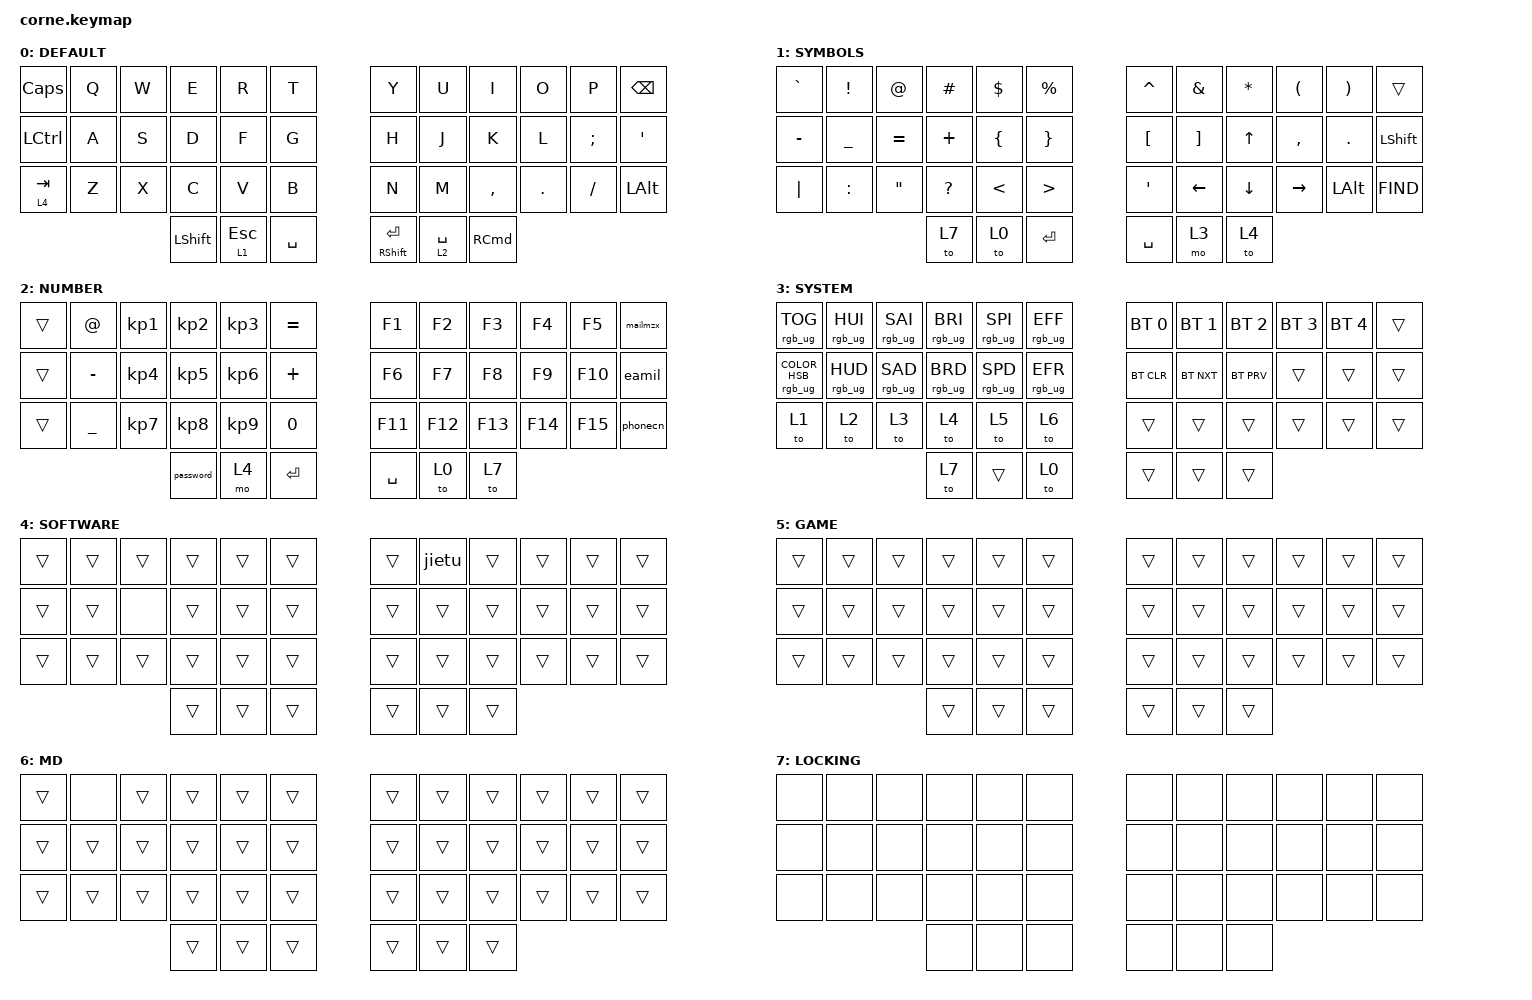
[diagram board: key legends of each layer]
/*
 * Copyright (c) 2020 The ZMK Contributors
 *
 * SPDX-License-Identifier: MIT
 */

#include <behaviors.dtsi>
#include <dt-bindings/zmk/bt.h>
#include <dt-bindings/zmk/keys.h>
#include <dt-bindings/zmk/rgb.h>

// dt-formatter: indent = "  "
// dt-formatter: reindentMultilineIntegerCells = "dedent"

/ {
  behaviors {
    hm: homerow_mods {
      compatible = "zmk,behavior-hold-tap";
      label = "HOMEROW_MODS";
      #binding-cells = <2>;
      tapping-term-ms = <150>;
      quick-tap-ms = <0>;
      flavor = "tap-preferred";
      bindings = <&kp>, <&kp>;
    };
  };

  combos {
    compatible = "zmk,combos";

    to0 {
      bindings = <&to 0>;
      key-positions = <11 23 35>;
      slow-release;
      timeout-ms = <50>;
      layers = <0 1 2 3 7 6 5 4>;
    };

    up {
      bindings = <&kp UP>;
      key-positions = <8 20>;
      layers = <0 1 2>;
      timeout-ms = <50>;
    };

    down {
      bindings = <&kp DOWN>;
      key-positions = <20 32>;
      timeout-ms = <50>;
      layers = <0 1 2>;
    };

    righe {
      bindings = <&kp RIGHT_ARROW>;
      key-positions = <20 21>;
      timeout-ms = <50>;
      layers = <0 1 2>;
    };

    left {
      bindings = <&kp LEFT>;
      key-positions = <19 20>;
      layers = <0 1 2>;
      timeout-ms = <50>;
    };

    jietu {
      bindings = <&jietu>;
      key-positions = <35 23>;
      slow-release;
      layers = <0 1 2 3 4 5 6>;
      timeout-ms = <50>;
    };

    lbracket {
      bindings = <&kp LEFT_BRACKET>;
      key-positions = <4 5>;
      timeout-ms = <50>;
      layers = <0 1 2 4 6>;
    };

    rbracket {
      bindings = <&kp RIGHT_BRACKET>;
      key-positions = <6 7>;
      layers = <0 1 2 3 4 6>;
      timeout-ms = <50>;
    };

    lbrace {
      bindings = <&kp LS(LEFT_BRACE)>;
      key-positions = <16 17>;
      layers = <0 1 2 3 4 6>;
      timeout-ms = <50>;
    };

    rbrace {
      bindings = <&kp LS(RIGHT_BRACE)>;
      key-positions = <18 19>;
      layers = <0 1 2 3 6 4>;
      timeout-ms = <50>;
    };

    lpra {
      bindings = <&kp LS(LEFT_PARENTHESIS)>;
      key-positions = <28 29>;
    };

    rpra {
      bindings = <&kp LS(RIGHT_PARENTHESIS)>;
      key-positions = <30 31>;
      layers = <0 1 2 3 4 6>;
      timeout-ms = <50>;
    };

    pipe {
      bindings = <&kp LS(PIPE)>;
      key-positions = <5 6>;
      timeout-ms = <50>;
      layers = <0 1 2 3 4 6>;
    };

    minus {
      bindings = <&kp MINUS>;
      key-positions = <19 20 21>;
      timeout-ms = <50>;
      layers = <0 1 2 3 4 6>;
    };

    under {
      bindings = <&kp LS(UNDERSCORE)>;
      key-positions = <14 15 16>;
      timeout-ms = <50>;
      layers = <0 1 2 3 4 6>;
    };

    slash {
      bindings = <&kp SLASH>;
      key-positions = <18 7>;
      layers = <0 1 2 3 4 6>;
      timeout-ms = <50>;
    };

    blsh {
      bindings = <&kp LS(BACKSLASH)>;
      key-positions = <4 17>;
      layers = <0 1 2 3 4 6>;
      timeout-ms = <50>;
    };

    lthan {
      bindings = <&kp LS(LESS_THAN)>;
      key-positions = <15 16 17>;
      layers = <0 1 2 3 4 6>;
      timeout-ms = <50>;
    };

    rlthan {
      bindings = <&kp LS(GREATER_THAN)>;
      key-positions = <18 19 20>;
      timeout-ms = <50>;
      layers = <0 1 2 3 4 6>;
    };
  };

  macros {
    phonecn: phonecn {
      compatible = "zmk,behavior-macro";
      label = "PHONECN";
      #binding-cells = <0>;
      bindings = <&kp KP_NUMBER_1 &kp KP_NUMBER_5 &kp KP_NUMBER_5 &kp KP_NUMBER_6 &kp KP_NUMBER_7 &kp KP_NUMBER_8 &kp KP_NUMBER_1 &kp KP_NUMBER_2 &kp KP_NUMBER_1 &kp KP_NUMBER_1 &kp KP_NUMBER_6>;
      wait-ms = <50>;
      tap-ms = <50>;
    };

    mailmzx: mailmzx {
      compatible = "zmk,behavior-macro";
      label = "MAILMZX";
      #binding-cells = <0>;
      bindings = <&kp AT_SIGN &kp M &kp O &kp Z &kp I &kp X &kp U &kp N &kp PERIOD &kp C &kp O &kp M>;
      wait-ms = <50>;
      tap-ms = <50>;
    };

    eamil: eamil {
      compatible = "zmk,behavior-macro";
      label = "EAMIL";
      #binding-cells = <0>;
      bindings = <&kp AT_SIGN &kp S &kp H &kp E &kp N &kp X &kp I &kp N &kp PERIOD &kp E &kp M &kp A &kp I &kp L>;
      wait-ms = <50>;
      tap-ms = <50>;
    };

    password: password {
      compatible = "zmk,behavior-macro";
      label = "PASSWORD";
      #binding-cells = <0>;
      bindings = <&kp W &kp O &kp A &kp I &kp N &kp I &kp KP_NUMBER_1 &kp KP_NUMBER_9 &kp KP_NUMBER_9 &kp KP_NUMBER_5>;
      wait-ms = <50>;
      tap-ms = <50>;
    };

    jietu: jietu {
      compatible = "zmk,behavior-macro";
      label = "JIETU";
      #binding-cells = <0>;
      bindings =
        <&macro_press>,
        <&kp LEFT_SHIFT &kp LEFT_COMMAND>,
        <&macro_tap>,
        <&kp NUMBER_5>,
        <&macro_release>,
        <&kp LEFT_SHIFT &kp LEFT_COMMAND>;
    };
  };

  keymap {
    compatible = "zmk,keymap";

    default {
      bindings = <
&kp CAPS          &kp Q  &kp W  &kp E           &kp R      &kp T        &kp Y              &kp U        &kp I              &kp O       &kp P          &kp BACKSPACE
&kp LEFT_CONTROL  &kp A  &kp S  &kp D           &kp F      &kp G        &kp H              &kp J        &kp K              &kp L       &kp SEMICOLON  &kp SQT
&lt 4 TAB         &kp Z  &kp X  &kp C           &kp V      &kp B        &kp N              &kp M        &kp COMMA          &kp PERIOD  &kp SLASH      &kp LEFT_ALT
                                &kp LEFT_SHIFT  &lt 1 ESC  &kp SPACE    &mt RSHIFT RETURN  &lt 2 SPACE  &kp RIGHT_COMMAND
      >;

      label = "DEFAULT";
    };

    symbols {
      bindings = <
&kp GRAVE  &kp EXCLAMATION  &kp AT_SIGN        &kp HASH   &kp DOLLAR      &kp PERCENT         &kp CARET         &kp AMPERSAND      &kp ASTERISK  &kp LEFT_PARENTHESIS  &kp RIGHT_PARENTHESIS  &trans
&kp MINUS  &kp UNDERSCORE   &kp EQUAL          &kp PLUS   &kp LEFT_BRACE  &kp RIGHT_BRACE     &kp LEFT_BRACKET  &kp RIGHT_BRACKET  &kp UP_ARROW  &kp COMMA             &kp PERIOD             &kp LEFT_SHIFT
&kp PIPE   &kp COLON        &kp DOUBLE_QUOTES  &kp QMARK  &kp LESS_THAN   &kp GREATER_THAN    &kp SQT           &kp LEFT           &kp DOWN      &kp RIGHT             &kp LEFT_ALT           &kp K_FIND
                                               &to 7      &to 0           &kp RET             &kp SPACE         &mo 3              &to 4
      >;

      label = "SYMBOLS";
    };

    number {
      bindings = <
&trans  &kp AT_SIGN     &kp KP_NUMBER_1  &kp KP_NUMBER_2  &kp KP_NUMBER_3  &kp EQUAL    &kp F1     &kp F2   &kp F3   &kp F4   &kp F5   &mailmzx
&trans  &kp MINUS       &kp KP_NUMBER_4  &kp KP_NUMBER_5  &kp KP_NUMBER_6  &kp PLUS     &kp F6     &kp F7   &kp F8   &kp F9   &kp F10  &eamil
&trans  &kp UNDERSCORE  &kp KP_NUMBER_7  &kp KP_NUMBER_8  &kp KP_NUMBER_9  &kp N0       &kp F11    &kp F12  &kp F13  &kp F14  &kp F15  &phonecn
                                         &password        &mo 4            &kp RET      &kp SPACE  &to 0    &to 7
      >;

      label = "NUMBER";
    };

    system {
      bindings = <
&rgb_ug RGB_TOG                  &rgb_ug RGB_HUI  &rgb_ug RGB_SAI  &rgb_ug RGB_BRI  &rgb_ug RGB_SPI  &rgb_ug RGB_EFF    &bt BT_SEL 0  &bt BT_SEL 1  &bt BT_SEL 2  &bt BT_SEL 3  &bt BT_SEL 4  &trans
&rgb_ug RGB_COLOR_HSB(299,0,99)  &rgb_ug RGB_HUD  &rgb_ug RGB_SAD  &rgb_ug RGB_BRD  &rgb_ug RGB_SPD  &rgb_ug RGB_EFR    &bt BT_CLR    &bt BT_NXT    &bt BT_PRV    &trans        &trans        &trans
&to 1                            &to 2            &to 3            &to 4            &to 5            &to 6              &trans        &trans        &trans        &trans        &trans        &trans
                                                                   &to 7            &trans           &to 0              &trans        &trans        &trans
      >;

      label = "SYSTEM";
    };

    software {
      bindings = <
&trans  &trans  &trans  &trans  &trans  &trans    &trans  &jietu  &trans  &trans  &trans  &trans
&trans  &trans  &none   &trans  &trans  &trans    &trans  &trans  &trans  &trans  &trans  &trans
&trans  &trans  &trans  &trans  &trans  &trans    &trans  &trans  &trans  &trans  &trans  &trans
                        &trans  &trans  &trans    &trans  &trans  &trans
      >;

      label = "SOFTWARE";
    };

    game {
      bindings = <
&trans  &trans  &trans  &trans  &trans  &trans    &trans  &trans  &trans  &trans  &trans  &trans
&trans  &trans  &trans  &trans  &trans  &trans    &trans  &trans  &trans  &trans  &trans  &trans
&trans  &trans  &trans  &trans  &trans  &trans    &trans  &trans  &trans  &trans  &trans  &trans
                        &trans  &trans  &trans    &trans  &trans  &trans
      >;

      label = "GAME";
    };

    markdown {
      bindings = <
&trans  &none   &trans  &trans  &trans  &trans    &trans  &trans  &trans  &trans  &trans  &trans
&trans  &trans  &trans  &trans  &trans  &trans    &trans  &trans  &trans  &trans  &trans  &trans
&trans  &trans  &trans  &trans  &trans  &trans    &trans  &trans  &trans  &trans  &trans  &trans
                        &trans  &trans  &trans    &trans  &trans  &trans
      >;

      label = "MD";
    };

    locking {
      bindings = <
&none  &none  &none  &none  &none  &none    &none  &none  &none  &none  &none  &none
&none  &none  &none  &none  &none  &none    &none  &none  &none  &none  &none  &none
&none  &none  &none  &none  &none  &none    &none  &none  &none  &none  &none  &none
                     &none  &none  &none    &none  &none  &none
      >;

      label = "LOCKING";
    };
  };
};
